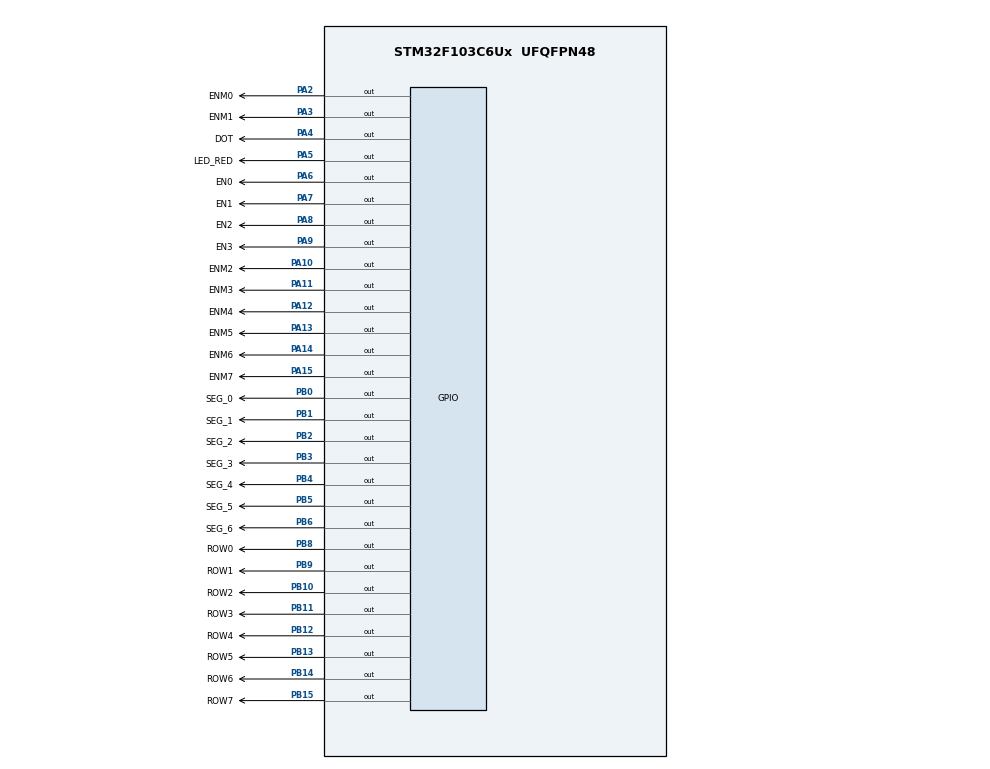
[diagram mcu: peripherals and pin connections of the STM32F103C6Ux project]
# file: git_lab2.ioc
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Mcu.Family=STM32F1
Mcu.Name=STM32F103C6Ux
Mcu.Package=UFQFPN48
NVIC.PriorityGroup=NVIC_PRIORITYGROUP_4
NVIC.TIM2_IRQn=true\:0\:0\:false\:false\:true\:true\:true
PA10.GPIO_Label=ENM2
PA10.Signal=GPIO_Output
PA11.GPIO_Label=ENM3
PA11.Signal=GPIO_Output
PA12.GPIO_Label=ENM4
PA12.Signal=GPIO_Output
PA13.GPIO_Label=ENM5
PA13.Signal=GPIO_Output
PA14.GPIO_Label=ENM6
PA14.Signal=GPIO_Output
PA15.GPIO_Label=ENM7
PA15.Signal=GPIO_Output
PA2.GPIO_Label=ENM0
PA2.Signal=GPIO_Output
PA3.GPIO_Label=ENM1
PA3.Signal=GPIO_Output
PA4.GPIO_Label=DOT
PA4.Signal=GPIO_Output
PA5.GPIO_Label=LED_RED
PA5.Signal=GPIO_Output
PA6.GPIO_Label=EN0
PA6.Signal=GPIO_Output
PA7.GPIO_Label=EN1
PA7.Signal=GPIO_Output
PA8.GPIO_Label=EN2
PA8.Signal=GPIO_Output
PA9.GPIO_Label=EN3
PA9.Signal=GPIO_Output
PB0.GPIO_Label=SEG_0
PB0.Signal=GPIO_Output
PB1.GPIO_Label=SEG_1
PB1.Signal=GPIO_Output
PB10.GPIO_Label=ROW2
PB10.Signal=GPIO_Output
PB11.GPIO_Label=ROW3
PB11.Signal=GPIO_Output
PB12.GPIO_Label=ROW4
PB12.Signal=GPIO_Output
PB13.GPIO_Label=ROW5
PB13.Signal=GPIO_Output
PB14.GPIO_Label=ROW6
PB14.Signal=GPIO_Output
PB15.GPIO_Label=ROW7
PB15.Signal=GPIO_Output
PB2.GPIO_Label=SEG_2
PB2.Signal=GPIO_Output
PB3.GPIO_Label=SEG_3
PB3.Signal=GPIO_Output
PB4.GPIO_Label=SEG_4
PB4.Signal=GPIO_Output
PB5.GPIO_Label=SEG_5
PB5.Signal=GPIO_Output
PB6.GPIO_Label=SEG_6
PB6.Signal=GPIO_Output
PB8.GPIO_Label=ROW0
PB8.Signal=GPIO_Output
PB9.GPIO_Label=ROW1
PB9.Signal=GPIO_Output
ProjectManager.HeapSize=0x200
ProjectManager.StackSize=0x400
ProjectManager.TargetToolchain=STM32CubeIDE
RCC.APB1Freq_Value=8000000
RCC.APB2Freq_Value=8000000
TIM2.Period=9
TIM2.Prescaler=7999
VP_SYS_VS_ND.Mode=No_Debug
VP_TIM2_VS_ClockSourceINT.Mode=Internal
board=custom

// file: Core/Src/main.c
/* USER CODE BEGIN Header */
/**
  ******************************************************************************
  * @file           : main.c
  * @brief          : Main program body
  ******************************************************************************
  * @attention
  *
  * <h2><center>&copy; Copyright (c) 2024 STMicroelectronics.
  * All rights reserved.</center></h2>
  *
  * This software component is licensed by ST under BSD 3-Clause license,
  * the "License"; You may not use this file except in compliance with the
  * License. You may obtain a copy of the License at:
  *                        opensource.org/licenses/BSD-3-Clause
  *
  ******************************************************************************
  */
/* USER CODE END Header */
#include "main.h"
#include "timer.h"
#include <stdbool.h>

TIM_HandleTypeDef htim2;

void SystemClock_Config(void);
static void MX_GPIO_Init(void);
static void MX_TIM2_Init(void);
/* USER CODE BEGIN PFP */
int index_led = 0;
int led_buffer[MAX_LED] = {2, 3, 5, 6};

const int MAX_LED_MATRIX = 8;
int index_led_matrix = 0;
uint8_t matrix_buffer[8] = {0x00,0x66,0xff,0xff,0xff,0x7e,0x3c,0x18};
//------------------------------------------dich trai------------------------
uint8_t matrix_buffser_old[8] = {0x00,0x66,0xff,0xff,0xff,0x7e,0x3c,0x18};
/* USER CODE END PFP */

void clearCol(void)
{
	HAL_GPIO_WritePin(ENM0_GPIO_Port, ENM0_Pin, RESET);
	HAL_GPIO_WritePin(ENM1_GPIO_Port, ENM1_Pin, RESET);
	HAL_GPIO_WritePin(ENM2_GPIO_Port, ENM2_Pin, RESET);
	HAL_GPIO_WritePin(ENM3_GPIO_Port, ENM3_Pin, RESET);
	HAL_GPIO_WritePin(ENM4_GPIO_Port, ENM4_Pin, RESET);
	HAL_GPIO_WritePin(ENM5_GPIO_Port, ENM5_Pin, RESET);
	HAL_GPIO_WritePin(ENM6_GPIO_Port, ENM6_Pin, RESET);
	HAL_GPIO_WritePin(ENM7_GPIO_Port, ENM7_Pin, RESET);
}

void clearRow(void)
{
	HAL_GPIO_WritePin(ROW0_GPIO_Port, ROW0_Pin, RESET);
	HAL_GPIO_WritePin(ROW1_GPIO_Port, ROW1_Pin, RESET);
	HAL_GPIO_WritePin(ROW2_GPIO_Port, ROW2_Pin, RESET);
	HAL_GPIO_WritePin(ROW3_GPIO_Port, ROW3_Pin, RESET);
	HAL_GPIO_WritePin(ROW4_GPIO_Port, ROW4_Pin, RESET);
	HAL_GPIO_WritePin(ROW5_GPIO_Port, ROW5_Pin, RESET);
	HAL_GPIO_WritePin(ROW6_GPIO_Port, ROW6_Pin, RESET);
	HAL_GPIO_WritePin(ROW7_GPIO_Port, ROW7_Pin, RESET);
}

void enCol(int index, int state)
{
	if(!state)
	{
		return;
	}

	switch(index)
	{
	case 0:
		HAL_GPIO_WritePin(ENM0_GPIO_Port, ENM0_Pin, SET);
		break;
	case 1:
		HAL_GPIO_WritePin(ENM1_GPIO_Port, ENM1_Pin, SET);
		break;
	case 2:
		HAL_GPIO_WritePin(ENM2_GPIO_Port, ENM2_Pin, SET);
		break;
	case 3:
		HAL_GPIO_WritePin(ENM3_GPIO_Port, ENM3_Pin, SET);
		break;
	case 4:
		HAL_GPIO_WritePin(ENM4_GPIO_Port, ENM4_Pin, SET);
		break;
	case 5:
		HAL_GPIO_WritePin(ENM5_GPIO_Port, ENM5_Pin, SET);
		break;
	case 6:
		HAL_GPIO_WritePin(ENM6_GPIO_Port, ENM6_Pin, SET);
		break;
	case 7:
		HAL_GPIO_WritePin(ENM7_GPIO_Port, ENM7_Pin, SET);
		break;
	default:
		break;
	}
}

void setCol(uint8_t number)
{
	for(int i=0;i<MAX_LED_MATRIX;i++)
	{
		enCol(i, (int)(number & (1 << i)));
	}
}

void updateLEDMatrix(int index)
{
	clearRow();
	clearCol();
	switch(index)
	{
	case 0:
		HAL_GPIO_WritePin(ROW0_GPIO_Port, ROW0_Pin, GPIO_PIN_SET);
		break;
	case 1:
		HAL_GPIO_WritePin(ROW1_GPIO_Port, ROW1_Pin, GPIO_PIN_SET);
		break;
	case 2:
		HAL_GPIO_WritePin(ROW2_GPIO_Port, ROW2_Pin, GPIO_PIN_SET);
		break;
	case 3:
		HAL_GPIO_WritePin(ROW3_GPIO_Port, ROW3_Pin, GPIO_PIN_SET);
		break;
	case 4:
		HAL_GPIO_WritePin(ROW4_GPIO_Port, ROW4_Pin, GPIO_PIN_SET);
		break;
	case 5:
		HAL_GPIO_WritePin(ROW5_GPIO_Port, ROW5_Pin, GPIO_PIN_SET);
		break;
	case 6:
		HAL_GPIO_WritePin(ROW6_GPIO_Port, ROW6_Pin, GPIO_PIN_SET);
		break;
	case 7:
		HAL_GPIO_WritePin(ROW7_GPIO_Port, ROW7_Pin, GPIO_PIN_SET);
		break;
	default:
		break;
	}

	setCol(matrix_buffer[index]);
}
//-------------------------------------------------dich trai-----------------------------
void shiftLeft(uint8_t* Matrix)
{
	for(int i=0;i<MAX_LED_MATRIX;i++)
	{
		Matrix[i] = Matrix[i] << 1;
	}
}

bool isemptyMatrix(uint8_t* Matrix)
{
	for(int i=0;i<MAX_LED_MATRIX;i++)
	{
		if(Matrix[i] != 0)
		{
			return false;
		}
	}

	return true;
}
void resetMatrix()
{
	for(int i=0;i<MAX_LED_MATRIX;i++)
	{
		matrix_buffer[i] = matrix_buffser_old[i];
	}
}

int main(void)
{

  /* MCU Configuration--------------------------------------------------------*/

  /* Reset of all peripherals, Initializes the Flash interface and the Systick. */
  HAL_Init();

  /* Configure the system clock */
  SystemClock_Config();

  /* Initialize all configured peripherals */
  MX_GPIO_Init();
  MX_TIM2_Init();
  /* USER CODE BEGIN 2 */
  HAL_TIM_Base_Start_IT(&htim2);
  /* USER CODE END 2 */

  /* Infinite loop */
  /* USER CODE BEGIN WHILE */
  HAL_GPIO_WritePin(GPIOA, GPIO_PIN_All, GPIO_PIN_SET);
  HAL_GPIO_WritePin(GPIOB, GPIO_PIN_All, GPIO_PIN_SET);
  setTimer1(10);
  setTimer2(10);
  setTimer3(10);
  setTimer4(500);
  setTimer5(10);
  int hour = 06, minute = 20, second = 55;
  updateClockBuffer(hour, minute);
  clearRow();
  while (1)
  {
	  if (timer1_flag == 1)
	  {
		  setTimer1(1000);
		  HAL_GPIO_TogglePin(DOT_GPIO_Port, DOT_Pin);
	  }

	  if (timer2_flag == 1)
	  {
		  setTimer2(250);
	  	  update7SEG(index_led);
		  index_led++;
		  if (index_led >= MAX_LED)
		  {
			  index_led = 0;
		  }
	  }

	  if (timer3_flag == 1)
	  {
		  setTimer3(1000);
		  second++;
	  	  if (second >= 60)
	  	  {
	  		  second = 0;
	  		  minute++;
	  	  }
	  	  if(minute >= 60)
	  	  {
	  		  minute = 0;
	  		  hour++;
		  }
	  	  if(hour >=24)
	  	  {
	  		  hour = 0;
	  	  }
	  	  updateClockBuffer(hour, minute);
	  }

	  if (timer4_flag == 1)
	  {
		  updateLEDMatrix(index_led_matrix++);
		  		if(index_led_matrix >= MAX_LED_MATRIX)
		  		{
		  			index_led_matrix = 0;
		  		}
		  		setTimer4(50);
	  }

	  if(timer5_flag == 1)
	  {
	  		 shiftLeft(matrix_buffer);
	  		 if(isemptyMatrix(matrix_buffer))
	  		 {
	  			 resetMatrix();
	  		 }
	  		 setTimer5(300);
	  	 }
    /* USER CODE END WHILE */

  }
}

void SystemClock_Config(void)
{
  RCC_OscInitTypeDef RCC_OscInitStruct = {0};
  RCC_ClkInitTypeDef RCC_ClkInitStruct = {0};

  /** Initializes the RCC Oscillators according to the specified parameters
  * in the RCC_OscInitTypeDef structure.
  */
  RCC_OscInitStruct.OscillatorType = RCC_OSCILLATORTYPE_HSI;
  RCC_OscInitStruct.HSIState = RCC_HSI_ON;
  RCC_OscInitStruct.HSICalibrationValue = RCC_HSICALIBRATION_DEFAULT;
  RCC_OscInitStruct.PLL.PLLState = RCC_PLL_NONE;
  if (HAL_RCC_OscConfig(&RCC_OscInitStruct) != HAL_OK)
  {
    Error_Handler();
  }
  /** Initializes the CPU, AHB and APB buses clocks
  */
  RCC_ClkInitStruct.ClockType = RCC_CLOCKTYPE_HCLK|RCC_CLOCKTYPE_SYSCLK
                              |RCC_CLOCKTYPE_PCLK1|RCC_CLOCKTYPE_PCLK2;
  RCC_ClkInitStruct.SYSCLKSource = RCC_SYSCLKSOURCE_HSI;
  RCC_ClkInitStruct.AHBCLKDivider = RCC_SYSCLK_DIV1;
  RCC_ClkInitStruct.APB1CLKDivider = RCC_HCLK_DIV1;
  RCC_ClkInitStruct.APB2CLKDivider = RCC_HCLK_DIV1;

  if (HAL_RCC_ClockConfig(&RCC_ClkInitStruct, FLASH_LATENCY_0) != HAL_OK)
  {
    Error_Handler();
  }
}

static void MX_TIM2_Init(void)
{

  TIM_ClockConfigTypeDef sClockSourceConfig = {0};
  TIM_MasterConfigTypeDef sMasterConfig = {0};

  htim2.Instance = TIM2;
  htim2.Init.Prescaler = 7999;
  htim2.Init.CounterMode = TIM_COUNTERMODE_UP;
  htim2.Init.Period = 9;
  htim2.Init.ClockDivision = TIM_CLOCKDIVISION_DIV1;
  htim2.Init.AutoReloadPreload = TIM_AUTORELOAD_PRELOAD_DISABLE;
  if (HAL_TIM_Base_Init(&htim2) != HAL_OK)
  {
    Error_Handler();
  }
  sClockSourceConfig.ClockSource = TIM_CLOCKSOURCE_INTERNAL;
  if (HAL_TIM_ConfigClockSource(&htim2, &sClockSourceConfig) != HAL_OK)
  {
    Error_Handler();
  }
  sMasterConfig.MasterOutputTrigger = TIM_TRGO_RESET;
  sMasterConfig.MasterSlaveMode = TIM_MASTERSLAVEMODE_DISABLE;
  if (HAL_TIMEx_MasterConfigSynchronization(&htim2, &sMasterConfig) != HAL_OK)
  {
    Error_Handler();
  }

}

static void MX_GPIO_Init(void)
{
  GPIO_InitTypeDef GPIO_InitStruct = {0};

  /* GPIO Ports Clock Enable */
  __HAL_RCC_GPIOA_CLK_ENABLE();
  __HAL_RCC_GPIOB_CLK_ENABLE();

  /*Configure GPIO pin Output Level */
  HAL_GPIO_WritePin(GPIOA, ENM0_Pin|ENM1_Pin|DOT_Pin|LED_RED_Pin
                          |EN0_Pin|EN1_Pin|EN2_Pin|EN3_Pin
                          |ENM2_Pin|ENM3_Pin|ENM4_Pin|ENM5_Pin
                          |ENM6_Pin|ENM7_Pin, GPIO_PIN_RESET);

  /*Configure GPIO pin Output Level */
  HAL_GPIO_WritePin(GPIOB, SEG_0_Pin|SEG_1_Pin|SEG_2_Pin|ROW2_Pin
                          |ROW3_Pin|ROW4_Pin|ROW5_Pin|ROW6_Pin
                          |ROW7_Pin|SEG_3_Pin|SEG_4_Pin|SEG_5_Pin
                          |SEG_6_Pin|ROW0_Pin|ROW1_Pin, GPIO_PIN_RESET);

  /*Configure GPIO pins : ENM0_Pin ENM1_Pin DOT_Pin LED_RED_Pin
                           EN0_Pin EN1_Pin EN2_Pin EN3_Pin
                           ENM2_Pin ENM3_Pin ENM4_Pin ENM5_Pin
                           ENM6_Pin ENM7_Pin */
  GPIO_InitStruct.Pin = ENM0_Pin|ENM1_Pin|DOT_Pin|LED_RED_Pin
                          |EN0_Pin|EN1_Pin|EN2_Pin|EN3_Pin
                          |ENM2_Pin|ENM3_Pin|ENM4_Pin|ENM5_Pin
                          |ENM6_Pin|ENM7_Pin;
  GPIO_InitStruct.Mode = GPIO_MODE_OUTPUT_PP;
  GPIO_InitStruct.Pull = GPIO_NOPULL;
  GPIO_InitStruct.Speed = GPIO_SPEED_FREQ_LOW;
  HAL_GPIO_Init(GPIOA, &GPIO_InitStruct);

  /*Configure GPIO pins : SEG_0_Pin SEG_1_Pin SEG_2_Pin ROW2_Pin
                           ROW3_Pin ROW4_Pin ROW5_Pin ROW6_Pin
                           ROW7_Pin SEG_3_Pin SEG_4_Pin SEG_5_Pin
                           SEG_6_Pin ROW0_Pin ROW1_Pin */
  GPIO_InitStruct.Pin = SEG_0_Pin|SEG_1_Pin|SEG_2_Pin|ROW2_Pin
                          |ROW3_Pin|ROW4_Pin|ROW5_Pin|ROW6_Pin
                          |ROW7_Pin|SEG_3_Pin|SEG_4_Pin|SEG_5_Pin
                          |SEG_6_Pin|ROW0_Pin|ROW1_Pin;
  GPIO_InitStruct.Mode = GPIO_MODE_OUTPUT_PP;
  GPIO_InitStruct.Pull = GPIO_NOPULL;
  GPIO_InitStruct.Speed = GPIO_SPEED_FREQ_LOW;
  HAL_GPIO_Init(GPIOB, &GPIO_InitStruct);

}

/* USER CODE BEGIN 4 */
void HAL_TIM_PeriodElapsedCallback ( TIM_HandleTypeDef * htim )
{
	timerRun();

}
/* USER CODE END 4 */

void Error_Handler(void)
{
  __disable_irq();
  while (1)
  {
  }
}

/************************ (C) COPYRIGHT STMicroelectronics *****END OF FILE****/
